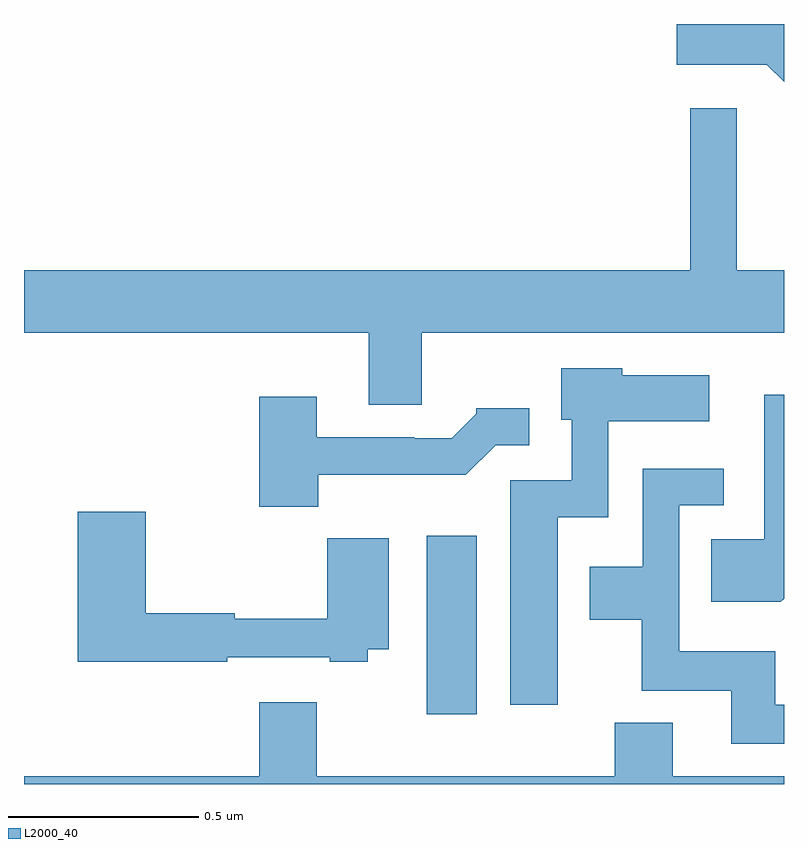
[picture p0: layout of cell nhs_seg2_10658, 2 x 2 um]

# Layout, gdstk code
import gdstk
lib = gdstk.Library(unit=1e-6, precision=1e-09)
def R(c, l, rs):  # rectangles x0, y0, x1, y1
    for r in rs: c.add(gdstk.rectangle(r[:2], r[2:], *l))
def P(c, l, *ps):  # polygons
    for p in ps: c.add(gdstk.Polygon(p, *l))
L2000_40 = (2000, 40)

nhs_seg2_10658 = lib.new_cell('nhs_seg2_10658')
R(nhs_seg2_10658, L2000_40, [(245.06,627.984,245.191,628.453)])
P(nhs_seg2_10658, L2000_40, [(246,629.8),(245.718,629.8),(245.718,629.693),(245.955,629.693),(246,629.648)],
  [(245.047,628.988),(246,628.988),(246,629.152),(245.875,629.152),(245.875,629.578),(245.753,629.578),(245.753,629.152),(244,629.152),(244,628.988),(244.907,628.988),(244.907,628.798),(245.047,628.798)],
  [(245.404,628.502),(245.538,628.502),(245.538,628.754),(245.803,628.754),(245.803,628.876),(245.574,628.876),(245.574,628.894),(245.414,628.894),(245.414,628.758),(245.442,628.758),(245.442,628.599),(245.279,628.599),(245.279,628.008),(245.404,628.008)],
  [(246,628.288),(246,628.825),(245.948,628.825),(245.948,628.444),(245.809,628.444),(245.809,628.28),(245.992,628.28)],
  [(244.774,628.614),(245.163,628.614),(245.241,628.692),(245.329,628.692),(245.329,628.789),(245.19,628.789),(245.19,628.774),(245.126,628.71),(245.027,628.71),(245.027,628.713),(244.771,628.713),(244.771,628.819),(244.619,628.819),(244.619,628.529),(244.774,628.529)],
  [(246,628.008),(245.977,628.008),(245.977,628.15),(245.724,628.15),(245.724,628.533),(245.842,628.533),(245.842,628.629),(245.628,628.629),(245.628,628.372),(245.489,628.372),(245.489,628.232),(245.626,628.232),(245.626,628.046),(245.861,628.046),(245.861,627.906),(246,627.906)],
  [(244.535,628.134),(244.805,628.134),(244.805,628.122),(244.905,628.122),(244.905,628.154),(244.96,628.154),(244.96,628.447),(244.798,628.447),(244.798,628.235),(244.554,628.235),(244.554,628.25),(244.32,628.25),(244.32,628.516),(244.142,628.516),(244.142,628.122),(244.535,628.122)],
  [(246,627.82),(245.707,627.82),(245.707,627.961),(245.555,627.961),(245.555,627.82),(244.771,627.82),(244.771,628.015),(244.619,628.015),(244.619,627.82),(244,627.82),(244,627.8),(246,627.8)])

lib.write_gds('nhs_seg2_10658.gds')
